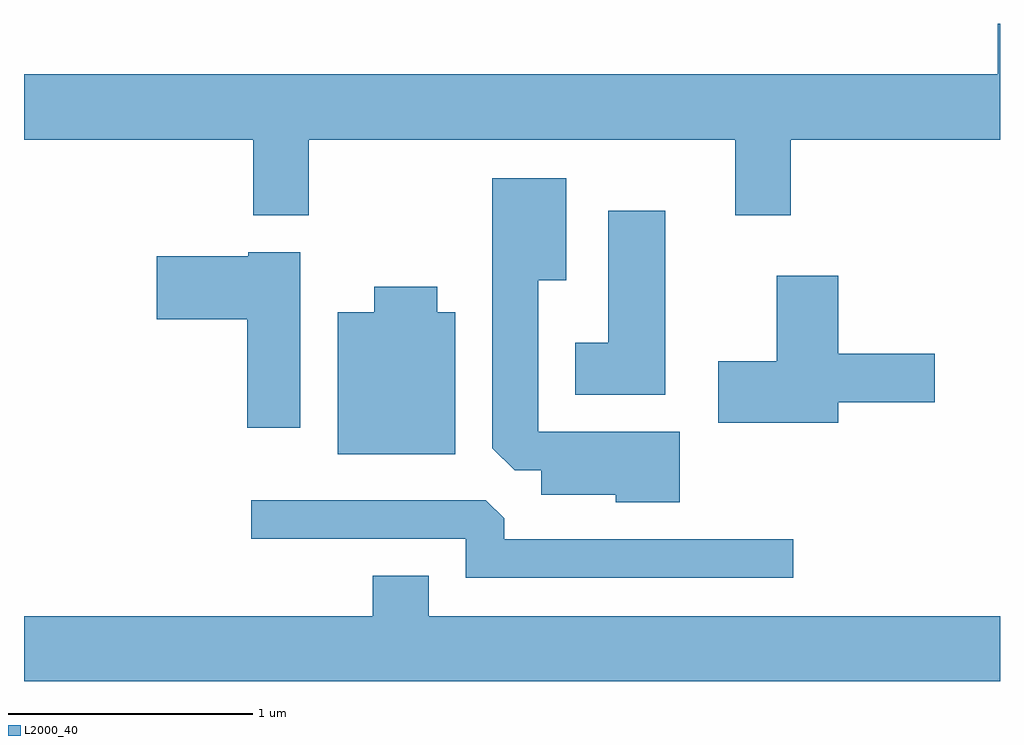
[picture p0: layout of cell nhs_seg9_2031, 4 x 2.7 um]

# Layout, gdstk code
import gdstk
lib = gdstk.Library(unit=1e-6, precision=1e-09)
def P(c, l, *ps):  # polygons
    for p in ps: c.add(gdstk.Polygon(p, *l))
L2000_40 = (2000, 40)

nhs_seg9_2031 = lib.new_cell('nhs_seg9_2031')
P(nhs_seg9_2031, L2000_40, [(244.779,2073.956),(246.526,2073.956),(246.526,2073.646),(246.754,2073.646),(246.754,2073.956),(247.611,2073.956),(247.611,2074.432),(247.601,2074.432),(247.601,2074.224),(243.611,2074.224),(243.611,2073.956),(244.551,2073.956),(244.551,2073.646),(244.779,2073.646)],
  [(246.299,2072.759),(245.719,2072.759),(245.719,2073.381),(245.834,2073.381),(245.834,2073.799),(245.531,2073.799),(245.531,2072.692),(245.622,2072.601),(245.731,2072.601),(245.731,2072.501),(246.036,2072.501),(246.036,2072.471),(246.299,2072.471)],
  [(246.239,2073.664),(246.006,2073.664),(246.006,2073.124),(245.871,2073.124),(245.871,2072.911),(246.239,2072.911)],
  [(244.744,2073.494),(244.53,2073.494),(244.53,2073.479),(244.156,2073.479),(244.156,2073.221),(244.526,2073.221),(244.526,2072.776),(244.744,2072.776)],
  [(246.949,2072.881),(247.344,2072.881),(247.344,2073.079),(246.949,2073.079),(246.949,2073.399),(246.696,2073.399),(246.696,2073.049),(246.456,2073.049),(246.456,2072.796),(246.949,2072.796)],
  [(245.379,2073.249),(245.304,2073.249),(245.304,2073.354),(245.046,2073.354),(245.046,2073.249),(244.896,2073.249),(244.896,2072.666),(245.379,2072.666)],
  [(246.763,2072.319),(245.579,2072.319),(245.579,2072.404),(245.504,2072.479),(244.543,2072.479),(244.543,2072.321),(245.421,2072.321),(245.421,2072.161),(246.763,2072.161)],
  [(247.611,2072.004),(245.269,2072.004),(245.269,2072.169),(245.041,2072.169),(245.041,2072.004),(243.611,2072.004),(243.611,2071.736),(247.611,2071.736)])

lib.write_gds('nhs_seg9_2031.gds')
